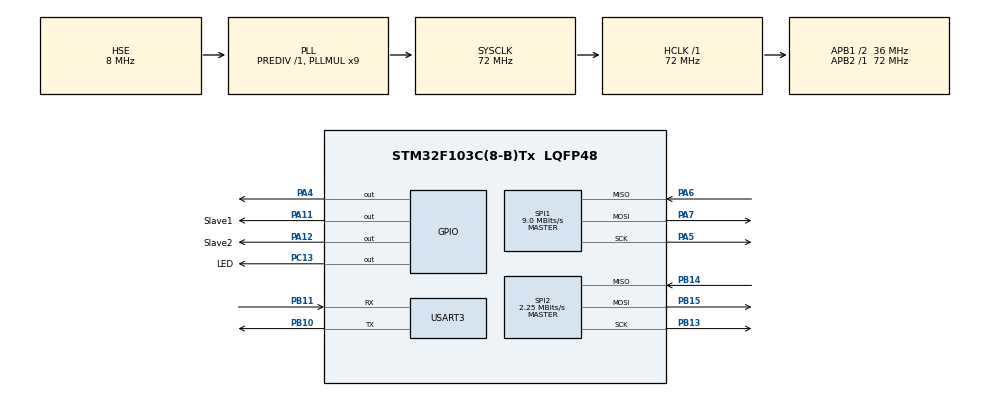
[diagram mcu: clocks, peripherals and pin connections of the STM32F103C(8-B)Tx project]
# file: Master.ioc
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Mcu.Family=STM32F1
PA11.GPIO_Speed=GPIO_SPEED_FREQ_HIGH
NVIC.USART3_IRQn=true\:0\:0\:false\:true\:true\:2\:true\:true
RCC.PLLSourceVirtual=RCC_PLLSOURCE_HSE
PA6.Mode=Full_Duplex_Master
PA7.Mode=Full_Duplex_Master
PD1-OSC_OUT.Mode=HSE-External-Oscillator
SPI1.VirtualType=VM_MASTER
SPI2.VirtualType=VM_MASTER
PB10.Mode=Asynchronous
PC13-TAMPER-RTC.Signal=GPIO_Output
PA11.GPIO_Label=Slave1
PD0-OSC_IN.Signal=RCC_OSC_IN
RCC.APB1CLKDivider=RCC_HCLK_DIV2
PB11.Signal=USART3_RX
PB13.Signal=SPI2_SCK
PB15.Signal=SPI2_MOSI
PA12.GPIO_Label=Slave2
RCC.SYSCLKSource=RCC_SYSCLKSOURCE_PLLCLK
ProjectManager.StackSize=0x400
PD1-OSC_OUT.Signal=RCC_OSC_OUT
PA13.Signal=SYS_JTMS-SWDIO
PA12.Signal=GPIO_Output
PB11.Mode=Asynchronous
ProjectManager.TargetToolchain=STM32CubeIDE
SPI1.Direction=SPI_DIRECTION_2LINES
RCC.HCLKFreq_Value=72000000
RCC.APB2TimFreq_Value=72000000
SPI1.CalculateBaudRate=9.0 MBits/s
RCC.USBFreq_Value=72000000
RCC.AHBFreq_Value=72000000
SPI2.BaudRatePrescaler=SPI_BAUDRATEPRESCALER_16
PD0-OSC_IN.Mode=HSE-External-Oscillator
PB10.Signal=USART3_TX
PB14.Signal=SPI2_MISO
PA5.Signal=SPI1_SCK
PA12.PinState=GPIO_PIN_SET
board=custom
PC13-TAMPER-RTC.GPIO_Label=LED
RCC.PLLMUL=RCC_PLL_MUL9
PB15.Mode=Full_Duplex_Master
RCC.APB2Freq_Value=72000000
VP_TIM2_VS_ClockSourceINT.Mode=Internal
SPI1.Mode=SPI_MODE_MASTER
PA14.Mode=Serial_Wire
PB14.Mode=Full_Duplex_Master
NVIC.TIM2_IRQn=true\:0\:0\:false\:true\:true\:3\:true\:true
SPI2.CalculateBaudRate=2.25 MBits/s
NVIC.SPI2_IRQn=true\:0\:0\:false\:true\:true\:1\:true\:true
TIM2.Period=1999
PA13.Mode=Serial_Wire
Mcu.Name=STM32F103C(8-B)Tx
PA4.Signal=GPIO_Output
RCC.SYSCLKFreq_VALUE=72000000
Mcu.Package=LQFP48
TIM2.Prescaler=35999
PA6.Signal=SPI1_MISO
SPI2.Mode=SPI_MODE_MASTER
USART3.VirtualMode=VM_ASYNC
PA11.Signal=GPIO_Output
PA14.Signal=SYS_JTCK-SWCLK
ProjectManager.HeapSize=0x200
NVIC.PriorityGroup=NVIC_PRIORITYGROUP_4
RCC.APB1TimFreq_Value=72000000
SPI2.Direction=SPI_DIRECTION_2LINES
PB13.Mode=Full_Duplex_Master
PA11.PinState=GPIO_PIN_SET
RCC.APB1Freq_Value=36000000
SPI1.BaudRatePrescaler=SPI_BAUDRATEPRESCALER_8
PA12.GPIO_Speed=GPIO_SPEED_FREQ_HIGH
PA5.Mode=Full_Duplex_Master
PA7.Signal=SPI1_MOSI

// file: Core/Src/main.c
/* USER CODE BEGIN Header */
/**
  ******************************************************************************
  * @file           : main.c
  * @brief          : Main program body
  ******************************************************************************
  * @attention
  *
  * <h2><center>&copy; Copyright (c) 2021 STMicroelectronics.
  * All rights reserved.</center></h2>
  *
  * This software component is licensed by ST under BSD 3-Clause license,
  * the "License"; You may not use this file except in compliance with the
  * License. You may obtain a copy of the License at:
  *                        opensource.org/licenses/BSD-3-Clause
  *
  ******************************************************************************
  */
/* USER CODE END Header */
#include "main.h"

/* USER CODE BEGIN Includes */
#include "rc522.h"
#include "string.h"
/* USER CODE END Includes */

SPI_HandleTypeDef hspi1;
SPI_HandleTypeDef hspi2;

TIM_HandleTypeDef htim2;

UART_HandleTypeDef huart3;

/* USER CODE BEGIN PV */
uint8_t u8_uart_tx[11];
uint8_t u8_uart_rx[8];

uint8_t u8_spi_tx[11] = "SxxLEDMDxE";
uint8_t u8_spi_rx[11];

uint8_t u8_count_timer = 0;
uint8_t u8_device = '0';
char * devicetemp;

uint8_t u8_LMdata[4] = "0000";
uint8_t u8_modeLed[1];

unsigned char CardID[5];
unsigned char MyID[5] = {0x07, 0x39, 0xB9, 0x3B, 0xBC};
uint8_t nfcFirst = 0;
uint8_t auth[1] = "0";
uint8_t u8_auth_uart_command = 0;
/* USER CODE END PV */

void SystemClock_Config(void);
static void MX_GPIO_Init(void);
static void MX_SPI2_Init(void);
static void MX_USART3_UART_Init(void);
static void MX_TIM2_Init(void);
static void MX_SPI1_Init(void);
static void MX_NVIC_Init(void);
/* USER CODE BEGIN PFP */
void RxSPISetup();
void TxSPISetup(uint8_t device, uint8_t* data,uint8_t from);
void TxUARTSetup(char *device, uint8_t* data);
/* USER CODE END PFP */

/* USER CODE BEGIN 0 */
void HAL_UART_RxCpltCallback(UART_HandleTypeDef *huart)
{
	if(huart->Instance == huart3.Instance)
	{
		//0 1 2 6
		//Phân tích xem truy�?n dữ liệu xuống cho thiết bị nào
		if(u8_uart_rx[0] == 'S' && u8_uart_rx[6] == 'E')
		{
			//Do khong truyen du lieu toi S1 nen khong viet
			if(u8_uart_rx[1] == 'M' && u8_uart_rx[2] == '1')
			{
				u8_device = '1';
			}
			else if(u8_uart_rx[1] == 'M' && u8_uart_rx[2] == '2')
			{
				u8_device = '2';
			}
			else if(u8_uart_rx[1] == 'S' && u8_uart_rx[2] == '1')
			{
				u8_device = '3';
			}
			else
			{
				u8_device = '0';
			}
		}
		//Nếu dữ liệu có dạng MD thì gửi dữ liệu xuống đi�?u khiển LED
		if(u8_uart_rx[3] == 'M' && u8_uart_rx[4] == 'D')
		{
			u8_modeLed[0] = u8_uart_rx[5];
			TxSPISetup(u8_device, u8_modeLed, 'C');
			if(u8_device == '1')
			{
				HAL_GPIO_WritePin(Slave1_GPIO_Port, Slave1_Pin, 0);
				HAL_SPI_Transmit(&hspi2, u8_spi_tx, 10, 1);
				HAL_GPIO_WritePin(Slave1_GPIO_Port, Slave1_Pin, 1);
				HAL_GPIO_WritePin(Slave1_GPIO_Port, Slave1_Pin, 0);
				HAL_SPI_Transmit(&hspi2, u8_spi_tx, 10, 1);
				HAL_GPIO_WritePin(Slave1_GPIO_Port, Slave1_Pin, 1);
			}
			else if(u8_device == '2')
			{
				//Gửi 2 lần để đảm bảo tín hiệu qua đầy đủ (kh�?i bấm 2 lần)
				HAL_GPIO_WritePin(Slave2_GPIO_Port, Slave2_Pin, 0);
				HAL_SPI_Transmit(&hspi2, u8_spi_tx, 10, 100);
				HAL_GPIO_WritePin(Slave2_GPIO_Port, Slave2_Pin, 1);
				HAL_GPIO_WritePin(Slave2_GPIO_Port, Slave2_Pin, 0);
				HAL_SPI_Transmit(&hspi2, u8_spi_tx, 10, 100);
				HAL_GPIO_WritePin(Slave2_GPIO_Port, Slave2_Pin, 1);
			}
		}
		else if(u8_uart_rx[3] == 'P' && u8_uart_rx[4] == 'W')
		{
			u8_modeLed[0] = u8_uart_rx[5];
			TxSPISetup(u8_device, u8_modeLed, 'P');
			HAL_GPIO_WritePin(Slave2_GPIO_Port, Slave2_Pin, 0);
			HAL_SPI_Transmit(&hspi2, u8_spi_tx, 10, 100);
			HAL_GPIO_WritePin(Slave2_GPIO_Port, Slave2_Pin, 1);
			HAL_GPIO_WritePin(Slave2_GPIO_Port, Slave2_Pin, 0);
			HAL_SPI_Transmit(&hspi2, u8_spi_tx, 10, 100);
			HAL_GPIO_WritePin(Slave2_GPIO_Port, Slave2_Pin, 1);
		}
		else if(u8_uart_rx[3] == 'R' && u8_uart_rx[4] == 'F')
		{
			u8_auth_uart_command = u8_uart_rx[5];
		}
	}
	HAL_UART_Receive_IT(&huart3, u8_uart_rx, 7);
}
void HAL_TIM_PeriodElapsedCallback(TIM_HandleTypeDef *htim)
{
	if(htim->Instance == htim2.Instance)
	{
		u8_count_timer++;
		if(u8_count_timer == 5)
		{
			u8_count_timer = 0;
			HAL_GPIO_WritePin(Slave1_GPIO_Port, Slave1_Pin, 0);
			HAL_SPI_TransmitReceive(&hspi2, u8_spi_tx, u8_spi_rx, 10, 1);
			HAL_GPIO_WritePin(Slave1_GPIO_Port, Slave1_Pin, 1);
			RxSPISetup();
			TxUARTSetup("M1",u8_LMdata);
			HAL_UART_Transmit_IT(&huart3, u8_uart_tx, 11);
			TxSPISetup('2', u8_LMdata, 'M');
			HAL_GPIO_WritePin(Slave2_GPIO_Port, Slave2_Pin, 0);
			HAL_SPI_Transmit(&hspi2, u8_spi_tx, 10, 1);
			HAL_GPIO_WritePin(Slave2_GPIO_Port, Slave2_Pin, 1);
		}
	}
}
void TxUARTSetup(char *device, uint8_t* data)
{
	if(strcmp(device, "M1") == 0)
	{
		u8_uart_tx[0] = 'S';
		u8_uart_tx[1] = 'M';
		u8_uart_tx[2] = '1';
		u8_uart_tx[3] = 'L';
		u8_uart_tx[4] = 'M';
		u8_uart_tx[5] = data[0];
		u8_uart_tx[6] = data[1];
		u8_uart_tx[7] = data[2];
		u8_uart_tx[8] = data[3];
		u8_uart_tx[9] = 'E';
		u8_uart_tx[10] = '\n';
	}
	else if(strcmp(device, "S1") == 0)
	{
		u8_uart_tx[0] = 'S';
		u8_uart_tx[1] = 'S';
		u8_uart_tx[2] = '1';
		u8_uart_tx[3] = 'R';
		u8_uart_tx[4] = 'F';
		u8_uart_tx[5] = data[0];
		u8_uart_tx[6] = 'E';
		u8_uart_tx[7] = '\n';

	}
}
void TxSPISetup(uint8_t device, uint8_t* data,uint8_t from)
{
	if(from == 'C')//Computer
	{
		u8_spi_tx[0] = 'S';
		u8_spi_tx[3] = 'L';
		u8_spi_tx[4] = 'E';
		u8_spi_tx[5] = 'D';
		u8_spi_tx[6] = 'M';
		u8_spi_tx[7] = 'D';
		u8_spi_tx[9] = 'E';

		if(device == '1')
		{
			u8_spi_tx[1] = 'M';
			u8_spi_tx[2] = '1';
		}
		else if(device == '2')
		{
			u8_spi_tx[1] = 'M';
			u8_spi_tx[2] = '2';
		}
		u8_spi_tx[8] = data[0];
	}
	else if(from == 'P')
	{
		u8_spi_tx[0] = 'S';
		u8_spi_tx[3] = 'L';
		u8_spi_tx[4] = 'E';
		u8_spi_tx[5] = 'D';
		u8_spi_tx[6] = 'P';
		u8_spi_tx[7] = 'W';
		u8_spi_tx[9] = 'E';
		if(device == '1')
		{
			u8_spi_tx[1] = 'M';
			u8_spi_tx[2] = '1';
		}
		else if(device == '2')
		{
			u8_spi_tx[1] = 'M';
			u8_spi_tx[2] = '2';
		}
		u8_spi_tx[8] = data[0];
	}
	else
	{
		u8_spi_tx[0] = 'S';
		u8_spi_tx[1] = 'M';
		u8_spi_tx[2] = '1';
		u8_spi_tx[3] = 'L';
		u8_spi_tx[4] = 'M';
		u8_spi_tx[9] = 'E';
		if(device == '2')
		{
			u8_spi_tx[5] = data[0];
			u8_spi_tx[6] = data[1];
			u8_spi_tx[7] = data[2];
			u8_spi_tx[8] = data[3];
		}
	}

}
void RxSPISetup()
{
	if(u8_spi_rx[0] == 'S' && u8_spi_rx[9] == 'E')
	{
		u8_LMdata[0] = u8_spi_rx[5];
		u8_LMdata[1] = u8_spi_rx[6];
		u8_LMdata[2] = u8_spi_rx[7];
		u8_LMdata[3] = u8_spi_rx[8];
	}
}
/* USER CODE END 0 */

int main(void)
{

  /* MCU Configuration--------------------------------------------------------*/

  /* Reset of all peripherals, Initializes the Flash interface and the Systick. */
  HAL_Init();

  /* Configure the system clock */
  SystemClock_Config();

  /* Initialize all configured peripherals */
  MX_GPIO_Init();
  MX_SPI2_Init();
  MX_USART3_UART_Init();
  MX_TIM2_Init();
  MX_SPI1_Init();

  /* Initialize interrupts */
  MX_NVIC_Init();
  /* USER CODE BEGIN 2 */
  HAL_SPI_Init(&hspi1);
  HAL_SPI_Init(&hspi2);
  HAL_UART_Init(&huart3);
  //HAL_TIM_Base_Init(&htim2);
  HAL_TIM_Base_Start_IT(&htim2);
  MFRC522_Init();
  /* USER CODE END 2 */

  /* Infinite loop */
  /* USER CODE BEGIN WHILE */
  HAL_UART_Receive_IT(&huart3, u8_uart_rx, 7);
  while (1)
  {
	  if(u8_device == '3' && u8_auth_uart_command == '1')
	  {
		  if (MFRC522_Check(CardID) == MI_OK && nfcFirst == 0)
		  {
			nfcFirst = 1;
			HAL_GPIO_TogglePin(LED_GPIO_Port, LED_Pin);
			if (MFRC522_Compare(CardID, MyID) == MI_OK )
			{
				auth[0] = '1';
				TxUARTSetup("S1", auth);
				HAL_UART_Transmit_IT(&huart3, u8_uart_tx, 8);
			}
		  }
		  else if(MFRC522_Check(CardID) != MI_OK)
		  {
			  auth[0] = '0';
			  nfcFirst = 0;
		  }
	  }

	  HAL_Delay(10);
    /* USER CODE END WHILE */

  }
}

void SystemClock_Config(void)
{
  RCC_OscInitTypeDef RCC_OscInitStruct = {0};
  RCC_ClkInitTypeDef RCC_ClkInitStruct = {0};

  /** Initializes the RCC Oscillators according to the specified parameters
  * in the RCC_OscInitTypeDef structure.
  */
  RCC_OscInitStruct.OscillatorType = RCC_OSCILLATORTYPE_HSE;
  RCC_OscInitStruct.HSEState = RCC_HSE_ON;
  RCC_OscInitStruct.HSEPredivValue = RCC_HSE_PREDIV_DIV1;
  RCC_OscInitStruct.HSIState = RCC_HSI_ON;
  RCC_OscInitStruct.PLL.PLLState = RCC_PLL_ON;
  RCC_OscInitStruct.PLL.PLLSource = RCC_PLLSOURCE_HSE;
  RCC_OscInitStruct.PLL.PLLMUL = RCC_PLL_MUL9;
  if (HAL_RCC_OscConfig(&RCC_OscInitStruct) != HAL_OK)
  {
    Error_Handler();
  }
  /** Initializes the CPU, AHB and APB buses clocks
  */
  RCC_ClkInitStruct.ClockType = RCC_CLOCKTYPE_HCLK|RCC_CLOCKTYPE_SYSCLK
                              |RCC_CLOCKTYPE_PCLK1|RCC_CLOCKTYPE_PCLK2;
  RCC_ClkInitStruct.SYSCLKSource = RCC_SYSCLKSOURCE_PLLCLK;
  RCC_ClkInitStruct.AHBCLKDivider = RCC_SYSCLK_DIV1;
  RCC_ClkInitStruct.APB1CLKDivider = RCC_HCLK_DIV2;
  RCC_ClkInitStruct.APB2CLKDivider = RCC_HCLK_DIV1;

  if (HAL_RCC_ClockConfig(&RCC_ClkInitStruct, FLASH_LATENCY_2) != HAL_OK)
  {
    Error_Handler();
  }
}

/**
  * @brief NVIC Configuration.
  * @retval None
  */
static void MX_NVIC_Init(void)
{
  /* SPI2_IRQn interrupt configuration */
  HAL_NVIC_SetPriority(SPI2_IRQn, 0, 0);
  HAL_NVIC_EnableIRQ(SPI2_IRQn);
  /* USART3_IRQn interrupt configuration */
  HAL_NVIC_SetPriority(USART3_IRQn, 0, 0);
  HAL_NVIC_EnableIRQ(USART3_IRQn);
  /* TIM2_IRQn interrupt configuration */
  HAL_NVIC_SetPriority(TIM2_IRQn, 0, 0);
  HAL_NVIC_EnableIRQ(TIM2_IRQn);
}

static void MX_SPI1_Init(void)
{

  /* SPI1 parameter configuration*/
  hspi1.Instance = SPI1;
  hspi1.Init.Mode = SPI_MODE_MASTER;
  hspi1.Init.Direction = SPI_DIRECTION_2LINES;
  hspi1.Init.DataSize = SPI_DATASIZE_8BIT;
  hspi1.Init.CLKPolarity = SPI_POLARITY_LOW;
  hspi1.Init.CLKPhase = SPI_PHASE_1EDGE;
  hspi1.Init.NSS = SPI_NSS_SOFT;
  hspi1.Init.BaudRatePrescaler = SPI_BAUDRATEPRESCALER_8;
  hspi1.Init.FirstBit = SPI_FIRSTBIT_MSB;
  hspi1.Init.TIMode = SPI_TIMODE_DISABLE;
  hspi1.Init.CRCCalculation = SPI_CRCCALCULATION_DISABLE;
  hspi1.Init.CRCPolynomial = 10;
  if (HAL_SPI_Init(&hspi1) != HAL_OK)
  {
    Error_Handler();
  }

}

static void MX_SPI2_Init(void)
{

  /* SPI2 parameter configuration*/
  hspi2.Instance = SPI2;
  hspi2.Init.Mode = SPI_MODE_MASTER;
  hspi2.Init.Direction = SPI_DIRECTION_2LINES;
  hspi2.Init.DataSize = SPI_DATASIZE_8BIT;
  hspi2.Init.CLKPolarity = SPI_POLARITY_LOW;
  hspi2.Init.CLKPhase = SPI_PHASE_1EDGE;
  hspi2.Init.NSS = SPI_NSS_SOFT;
  hspi2.Init.BaudRatePrescaler = SPI_BAUDRATEPRESCALER_16;
  hspi2.Init.FirstBit = SPI_FIRSTBIT_MSB;
  hspi2.Init.TIMode = SPI_TIMODE_DISABLE;
  hspi2.Init.CRCCalculation = SPI_CRCCALCULATION_DISABLE;
  hspi2.Init.CRCPolynomial = 10;
  if (HAL_SPI_Init(&hspi2) != HAL_OK)
  {
    Error_Handler();
  }

}

static void MX_TIM2_Init(void)
{

  TIM_ClockConfigTypeDef sClockSourceConfig = {0};
  TIM_MasterConfigTypeDef sMasterConfig = {0};

  htim2.Instance = TIM2;
  htim2.Init.Prescaler = 35999;
  htim2.Init.CounterMode = TIM_COUNTERMODE_UP;
  htim2.Init.Period = 1999;
  htim2.Init.ClockDivision = TIM_CLOCKDIVISION_DIV1;
  htim2.Init.AutoReloadPreload = TIM_AUTORELOAD_PRELOAD_DISABLE;
  if (HAL_TIM_Base_Init(&htim2) != HAL_OK)
  {
    Error_Handler();
  }
  sClockSourceConfig.ClockSource = TIM_CLOCKSOURCE_INTERNAL;
  if (HAL_TIM_ConfigClockSource(&htim2, &sClockSourceConfig) != HAL_OK)
  {
    Error_Handler();
  }
  sMasterConfig.MasterOutputTrigger = TIM_TRGO_RESET;
  sMasterConfig.MasterSlaveMode = TIM_MASTERSLAVEMODE_DISABLE;
  if (HAL_TIMEx_MasterConfigSynchronization(&htim2, &sMasterConfig) != HAL_OK)
  {
    Error_Handler();
  }

}

static void MX_USART3_UART_Init(void)
{

  huart3.Instance = USART3;
  huart3.Init.BaudRate = 115200;
  huart3.Init.WordLength = UART_WORDLENGTH_8B;
  huart3.Init.StopBits = UART_STOPBITS_1;
  huart3.Init.Parity = UART_PARITY_NONE;
  huart3.Init.Mode = UART_MODE_TX_RX;
  huart3.Init.HwFlowCtl = UART_HWCONTROL_NONE;
  huart3.Init.OverSampling = UART_OVERSAMPLING_16;
  if (HAL_UART_Init(&huart3) != HAL_OK)
  {
    Error_Handler();
  }

}

static void MX_GPIO_Init(void)
{
  GPIO_InitTypeDef GPIO_InitStruct = {0};

  /* GPIO Ports Clock Enable */
  __HAL_RCC_GPIOC_CLK_ENABLE();
  __HAL_RCC_GPIOD_CLK_ENABLE();
  __HAL_RCC_GPIOA_CLK_ENABLE();
  __HAL_RCC_GPIOB_CLK_ENABLE();

  /*Configure GPIO pin Output Level */
  HAL_GPIO_WritePin(LED_GPIO_Port, LED_Pin, GPIO_PIN_RESET);

  /*Configure GPIO pin Output Level */
  HAL_GPIO_WritePin(GPIOA, GPIO_PIN_4, GPIO_PIN_RESET);

  /*Configure GPIO pin Output Level */
  HAL_GPIO_WritePin(GPIOA, Slave1_Pin|Slave2_Pin, GPIO_PIN_SET);

  /*Configure GPIO pin : LED_Pin */
  GPIO_InitStruct.Pin = LED_Pin;
  GPIO_InitStruct.Mode = GPIO_MODE_OUTPUT_PP;
  GPIO_InitStruct.Pull = GPIO_NOPULL;
  GPIO_InitStruct.Speed = GPIO_SPEED_FREQ_LOW;
  HAL_GPIO_Init(LED_GPIO_Port, &GPIO_InitStruct);

  /*Configure GPIO pin : PA4 */
  GPIO_InitStruct.Pin = GPIO_PIN_4;
  GPIO_InitStruct.Mode = GPIO_MODE_OUTPUT_PP;
  GPIO_InitStruct.Pull = GPIO_NOPULL;
  GPIO_InitStruct.Speed = GPIO_SPEED_FREQ_LOW;
  HAL_GPIO_Init(GPIOA, &GPIO_InitStruct);

  /*Configure GPIO pins : Slave1_Pin Slave2_Pin */
  GPIO_InitStruct.Pin = Slave1_Pin|Slave2_Pin;
  GPIO_InitStruct.Mode = GPIO_MODE_OUTPUT_PP;
  GPIO_InitStruct.Pull = GPIO_NOPULL;
  GPIO_InitStruct.Speed = GPIO_SPEED_FREQ_HIGH;
  HAL_GPIO_Init(GPIOA, &GPIO_InitStruct);

}

void Error_Handler(void)
{
  __disable_irq();
  while (1)
  {
  }
}

/************************ (C) COPYRIGHT STMicroelectronics *****END OF FILE****/
